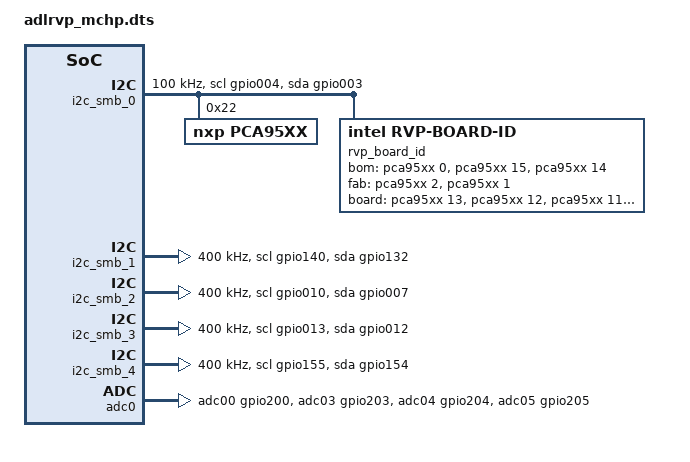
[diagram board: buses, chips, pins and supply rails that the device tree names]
/* Copyright 2022 The Chromium OS Authors. All rights reserved.
 * Use of this source code is governed by a BSD-style license that can be
 * found in the LICENSE file.
 */

/ {
	hibernate-wake-pins {
		compatible = "cros-ec,hibernate-wake-pins";
		wakeup-irqs = <
			&int_ac_present
			&int_lid_open
			&int_power_button
		>;
	};

	named-i2c-ports {
		compatible = "named-i2c-ports";

		battery {
			i2c-port = <&i2c_smb_0>;
			enum-name = "I2C_PORT_BATTERY";
		};
		i2c_charger: charger {
			i2c-port = <&i2c_smb_0>;
			enum-name = "I2C_PORT_CHARGER";
		};
		typec_0: typec-0 {
			i2c-port = <&i2c_smb_1>;
			enum-name = "I2C_PORT_TYPEC_0";
		};
		typec_1: typec-1 {
			i2c-port = <&i2c_smb_2>;
			enum-name = "I2C_PORT_TYPEC_1";
		};
		typec_2: typec-2 {
			i2c-port = <&i2c_smb_3>;
			enum-name = "I2C_PORT_TYPEC_2";
		};
		typec_3: typec-3 {
			i2c-port = <&i2c_smb_4>;
			enum-name = "I2C_PORT_TYPEC_3";
		};
	};

	named-adc-channels {
		compatible = "named-adc-channels";

		adc_ambient: ambient {
			label = "ADC_TEMP_SNS_AMBIENT";
			enum-name = "ADC_TEMP_SENSOR_1";
			io-channels = <&adc0 3>;
		};
		adc_ddr: ddr {
			label = "ADC_TEMP_SNS_DDR";
			enum-name = "ADC_TEMP_SENSOR_2";
			io-channels = <&adc0 5>;
		};
		adc_skin: skin {
			label = "ADC_TEMP_SNS_SKIN";
			enum-name = "ADC_TEMP_SENSOR_3";
			io-channels = <&adc0 4>;
		};
		adc_vr: vr {
			label = "ADC_TEMP_SNS_VR";
			enum-name = "ADC_TEMP_SENSOR_4";
			io-channels = <&adc0 0>;
		};
	};
};

/* charger */
&i2c_smb_0 {
	status = "okay";
	clock-frequency = <I2C_BITRATE_STANDARD>;
	port_sel = <0>;
	pinctrl-0 = <&i2c00_scl_gpio004 &i2c00_sda_gpio003>;
	pinctrl-names = "default";

	pca95xx: pca95xx@22 {
		compatible = "nxp,pca95xx";
		label = "PCA95XX";
		reg = <0x22>;
		gpio-controller;
		#gpio-cells = <2>;
		ngpios = <16>;
	};

	rvp_board_id: rvp-board-id {
		compatible = "intel,rvp-board-id";

		/*
		 * BOM ID [2]   : IOEX[0]
		 * BOM ID [1:0] : IOEX[15:14]
		 */
		bom-gpios = <&pca95xx 0 0>, <&pca95xx 15 0>, <&pca95xx 14 0>;

		/*
		 * FAB ID [1:0] : IOEX[2:1]
		 */
		fab-gpios = <&pca95xx 2 0>, <&pca95xx 1 0>;

		/*
		 * BOARD ID[5:0] : IOEX[13:8]
		 */
		board-gpios = <&pca95xx 13 0>, <&pca95xx 12 0>, <&pca95xx 11 0>,
			      <&pca95xx 10 0>, <&pca95xx 9 0>, <&pca95xx 8 0>;
	};
};

/* typec_0 */
&i2c_smb_1 {
	status = "okay";
	clock-frequency = <I2C_BITRATE_FAST>;
	port_sel = <6>;
	pinctrl-0 = <&i2c06_scl_gpio140 &i2c06_sda_gpio132>;
	pinctrl-names = "default";
};

/* typec_1 */
&i2c_smb_2 {
	status = "okay";
	clock-frequency = <I2C_BITRATE_FAST>;
	port_sel = <3>;
	pinctrl-0 = <&i2c03_scl_gpio010 &i2c03_sda_gpio007>;
	pinctrl-names = "default";
};

/* typec_2 */
&i2c_smb_3 {
	status = "okay";
	clock-frequency = <I2C_BITRATE_FAST>;
	port_sel = <7>;
	pinctrl-0 = <&i2c07_scl_gpio013 &i2c07_sda_gpio012>;
	pinctrl-names = "default";
};

/* typec_3 */
&i2c_smb_4 {
	status = "okay";
	clock-frequency = <I2C_BITRATE_FAST>;
	port_sel = <2>;
	pinctrl-0 = <&i2c02_scl_gpio155 &i2c02_sda_gpio154>;
	pinctrl-names = "default";
};

&adc0 {
	status = "okay";
	pinctrl-0 = <&adc00_gpio200
		     &adc03_gpio203
		     &adc04_gpio204
		     &adc05_gpio205>;
	pinctrl-names = "default";
};
